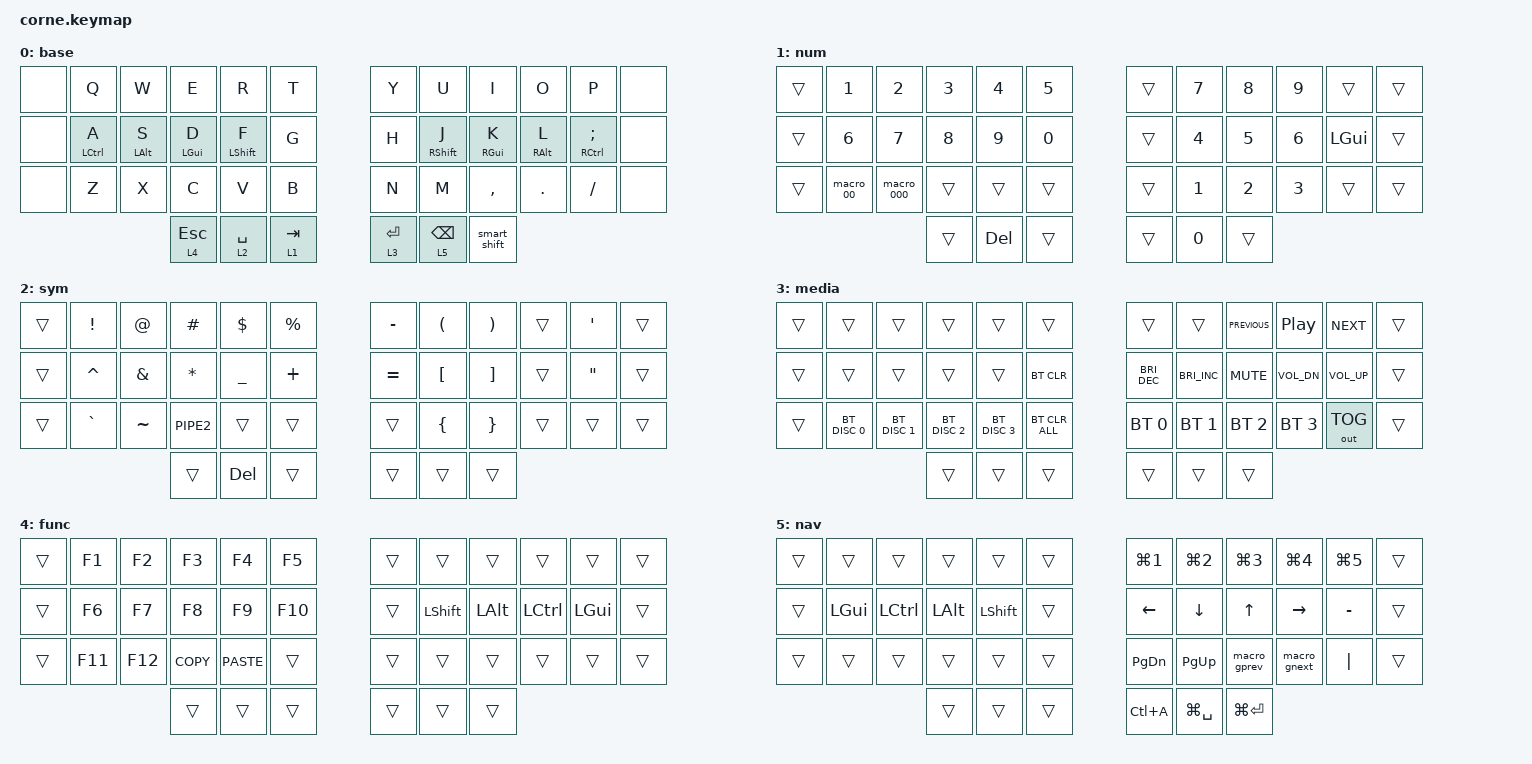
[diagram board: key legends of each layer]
/*
 * Copyright (c) 2020 The ZMK Contributors
 *
 * SPDX-License-Identifier: MIT
 */

#include <behaviors.dtsi>
#include <dt-bindings/zmk/bt.h>
#include <dt-bindings/zmk/keys.h>
#include <dt-bindings/zmk/keys.h>
#include <dt-bindings/zmk/outputs.h>
#include "zmk-helpers/helper.h"
#include "zmk-helpers/key-labels/36.h"

#define KEYS_L LT0 LT1 LT2 LT3 LT4 LM0 LM1 LM2 LM3 LM4 LB0 LB1 LB2 LB3 LB4
#define KEYS_R RT0 RT1 RT2 RT3 RT4 RM0 RM1 RM2 RM3 RM4 RB0 RB1 RB2 RB3 RB4
#define KEYS_T LH2 LH1 LH0 RH0 RH1 RH2

#define HM_TAPPING_TERM 150
#define HM_TAPPING_TERM_FAST 120
#define HM_PRIOR_IDLE 100

/ {
    combos {
        compatible = "zmk,combos";

        rcmd_combo {
            bindings = <&kp RIGHT_COMMAND>;
            key-positions = <21 22>;
            layers = <0>;
        };

        rctrl_combo {
            bindings = <&kp RIGHT_CONTROL>;
            key-positions = <21 20>;
            layers = <0>;
        };

        rshift_combo {
            bindings = <&kp RIGHT_SHIFT>;
            key-positions = <19 20>;
            layers = <0>;
        };

        ralt_combo {
            bindings = <&kp RIGHT_ALT>;
            key-positions = <18 19>;
            layers = <0>;
        };

        lcmd_combo {
            bindings = <&kp LEFT_COMMAND>;
            key-positions = <13 14>;
            layers = <0>;
        };

        lctrl_combo {
            bindings = <&kp LEFT_CONTROL>;
            key-positions = <14 15>;
            layers = <0>;
        };

        lshift_combo {
            bindings = <&kp LEFT_SHIFT>;
            key-positions = <15 16>;
            layers = <0>;
        };

        lalt_combo {
            bindings = <&kp LEFT_ALT>;
            key-positions = <16 17>;
            layers = <0>;
        };

        lctrl_alt_combo {
            bindings = <&kp LC(LEFT_ALT)>;
            key-positions = <16 14 15>;
            layers = <0>;
        };

        lcmd_shift_combo {
            bindings = <&kp LG(LEFT_SHIFT)>;
            key-positions = <14 15 13>;
            layers = <0>;
        };

        rcmd_shift_combo {
            bindings = <&kp LG(LEFT_SHIFT)>;
            key-positions = <20 21 22>;
            layers = <0>;
        };
    };

    macros {
        macro_00: macro_00 {
            compatible = "zmk,behavior-macro";
            #binding-cells = <0>;
            bindings = <&kp N0 &kp N0>;
            label = "MACRO_00";
        };

        macro_000: macro_000 {
            compatible = "zmk,behavior-macro";
            #binding-cells = <0>;
            bindings = <&kp N0 &kp N0 &kp N0>;
            label = "MACRO_000";
        };

        macro_gprev: macro_gprev {
            compatible = "zmk,behavior-macro";
            #binding-cells = <0>;
            bindings = <&kp LEFT_BRACKET &kp G>;
            label = "MACRO_GPREV";
        };

        macro_gnext: macro_gnext {
            compatible = "zmk,behavior-macro";
            #binding-cells = <0>;
            bindings = <&kp RIGHT_BRACKET &kp G>;
            label = "MACRO_GNEXT";
        };
    };

    behaviors {
        // Positional Homerow mods
        // Homerow mods that prevent accidental activations when rolling keys,
        // such as when typing `st` or `ne` on colemak-dh layouts or `as` on
        // qwerty.
        //
        // Works by only allowing a mod to activate within tapping-term if
        // it's on the opposite side of the keyboard or on the same side thumb
        // keys.

        // Further optimization using urob's timerless homerow mods method:
        // https://github.com/urob/zmk-config#timeless-homerow-mods
        hm_l: homerow_mods_left {
            compatible = "zmk,behavior-hold-tap";
            #binding-cells = <2>;
            bindings = <&kp>,  <&kp>;

            flavor = "balanced";
            tapping-term-ms = <HM_TAPPING_TERM>;
            quick-tap-ms = <175>;                // repeat on tap-into-hold
            require-prior-idle-ms = <HM_PRIOR_IDLE>;

            hold-trigger-key-positions = <KEYS_R KEYS_T>;
            hold-trigger-on-release;
        };

        hm_r: homerow_mods_right {
            compatible = "zmk,behavior-hold-tap";
            #binding-cells = <2>;
            bindings = <&kp>, <&kp>;

            flavor = "balanced";
            tapping-term-ms = <HM_TAPPING_TERM>;
            quick-tap-ms = <175>;
            require-prior-idle-ms = <HM_PRIOR_IDLE>;

            hold-trigger-key-positions = <KEYS_L KEYS_T>;
            hold-trigger-on-release;
        };


        // Positional Homerow mods for shift
        // Use faster tapping term and disable some features that may
        // cause false negatives.
        hm_shift_l: hm_shift_l {
            compatible = "zmk,behavior-hold-tap";
            #binding-cells = <2>;
            bindings = <&kp>, <&kp>;

            flavor = "balanced";
            tapping-term-ms = <HM_TAPPING_TERM_FAST>;
            quick-tap-ms = <175>;
            require-prior-idle-ms = <HM_PRIOR_IDLE>;

            hold-trigger-key-positions = <KEYS_R KEYS_T>;
            // hold-trigger-on-release;
        };

        hm_shift_r: hm_shift_r {
            compatible = "zmk,behavior-hold-tap";
            #binding-cells = <2>;
            bindings = <&kp>, <&kp>;

            flavor = "balanced";
            tapping-term-ms = <HM_TAPPING_TERM_FAST>;
            quick-tap-ms = <175>;
            require-prior-idle-ms = <HM_PRIOR_IDLE>;

            hold-trigger-key-positions = <KEYS_L KEYS_T>;
            // hold-trigger-on-release;
        };

        /*
         * Non-Positional Homerow Mods
         * Used for &mm_grescm_gui behavior on left hand.
         *
         * Usage: &hm LSHFT T
         * Tap: T
         * Tap-Tap-Hold: Repeat T
         * Hold: LSHIFT
         */
        hm: homerow_mods {
            compatible = "zmk,behavior-hold-tap";
            #binding-cells = <2>;
            bindings = <&kp>, <&kp>;

            flavor = "balanced";
            tapping-term-ms = <HM_TAPPING_TERM>;
            quick-tap-ms = <200>;
        };

        smart_shift: smart_shift {
            compatible = "zmk,behavior-tap-dance";
            label = "SMART_SHIFT";
            #binding-cells = <0>;
            tapping-term-ms = <200>;
            bindings = <&kp LEFT_SHIFT>, <&kt LEFT_SHIFT>;
        };
    };

    keymap {
        compatible = "zmk,keymap";

        base {
            // -----------------------------------------------------------------------------------------
            // | NONE |  Q  |  W  |  E  |  R  |  T  |   |  Y  |  U   |  I  |  O  |  P  | NONE |
            // | NONE |  A  |  S  |  D  |  F  |  G  |   |  H  |  J   |  K  |  L  |  ;  | NONE |
            // | NONE |  Z  |  X  |  C  |  V  |  B  |   |  N  |  M   |  ,  |  .  |  /  | NONE |
            //                    | GUI | LWR | SPC |   | ENT | RSE  | ALT |

            bindings = <
&none  &kp Q  &kp W  &kp E         &kp R            &kp T           &kp Y      &kp U        &kp I        &kp O    &kp P     &none
&none  &hm_l LEFT_CONTROL A  &hm_l LEFT_ALT S  &hm_l LEFT_GUI D  &hm_shift_l LEFT_SHIFT F      &kp G               &kp H     &hm_shift_r RIGHT_SHIFT J   &hm_r RIGHT_GUI K  &hm_r RIGHT_ALT L &hm_r RIGHT_CONTROL SEMI &none
&none  &kp Z  &kp X  &kp C         &kp V            &kp B           &kp N      &kp M        &kp COMMA    &kp DOT  &kp FSLH  &none
                     &lt 4 ESC  &lt 2 SPACE  &lt 1 TAB    &lt 3 ENTER  &lt 5 BACKSPACE  &smart_shift
            >;

            label = "base";
        };

        num {
            bindings = <
&trans  &kp N1     &kp N2      &kp N3  &kp N4   &kp N5    &trans  &kp N7     &kp N8     &kp N9    &trans    &trans
&trans  &kp N6     &kp N7      &kp N8  &kp N9   &kp N0    &trans  &kp N4     &kp N5     &kp N6    &kp LGUI  &trans
&trans  &macro_00  &macro_000  &trans  &trans   &trans    &trans  &kp N1     &kp N2     &kp N3    &trans    &trans
                               &trans  &kp DEL  &trans    &trans  &kp N0     &trans
            >;

            label = "num";
        };

        sym {
            bindings = <
&trans  &kp EXCLAMATION &kp AT_SIGN      &kp POUND     &kp DOLLAR         &kp PERCENT      &kp MINUS        &kp LEFT_PARENTHESIS  &kp RIGHT_PARENTHESIS  &trans  &kp SQT  &trans
&trans  &kp CARET       &kp AMPERSAND    &kp ASTERISK  &kp UNDERSCORE     &kp PLUS         &kp EQUAL        &kp LEFT_BRACKET      &kp RIGHT_BRACKET      &trans  &kp DQT  &trans
&trans  &kp GRAVE       &kp TILDE        &kp PIPE2     &trans             &trans           &trans           &kp LEFT_BRACE        &kp RIGHT_BRACE        &trans  &trans  &trans
                                         &trans        &kp DELETE         &trans           &trans           &trans                &trans
            >;

            label = "sym";
        };

        media {
            bindings = <
&trans  &trans         &trans         &trans         &trans         &trans            &trans                &trans                &kp C_PREVIOUS  &kp C_PLAY_PAUSE  &kp C_NEXT       &trans
&trans  &trans         &trans         &trans         &trans         &bt BT_CLR        &kp C_BRIGHTNESS_DEC  &kp C_BRIGHTNESS_INC  &kp K_MUTE      &kp C_VOL_DN      &kp C_VOLUME_UP  &trans
&trans  &bt BT_DISC 0  &bt BT_DISC 1  &bt BT_DISC 2  &bt BT_DISC 3  &bt BT_CLR_ALL    &bt BT_SEL 0          &bt BT_SEL 1          &bt BT_SEL 2    &bt BT_SEL 3      &out OUT_TOG     &trans
                                      &trans         &trans         &trans            &trans                &trans                &trans
            >;

            label = "media";
        };

        func {
            bindings = <
&trans  &kp F1   &kp F2   &kp F3      &kp F4       &kp F5     &trans  &trans          &trans        &trans            &trans        &trans
&trans  &kp F6   &kp F7   &kp F8      &kp F9       &kp F10    &trans  &kp LEFT_SHIFT  &kp LEFT_ALT  &kp LEFT_CONTROL  &kp LEFT_GUI  &trans
&trans  &kp F11  &kp F12  &kp K_COPY  &kp K_PASTE  &trans     &trans  &trans          &trans        &trans            &trans        &trans
                          &trans      &trans       &trans     &trans  &trans          &trans
            >;

            label = "func";
        };

        nav {
            bindings = <
&trans  &trans    &trans     &trans    &trans     &trans    &kp LG(NUMBER_1)  &kp LG(NUMBER_2)  &kp LG(NUMBER_3)  &kp LG(NUMBER_4)  &kp LG(N5)  &trans
&trans  &kp LGUI  &kp LCTRL  &kp LALT  &kp LSHFT  &trans    &kp LEFT          &kp DOWN          &kp UP            &kp RIGHT         &kp MINUS   &trans
&trans  &trans    &trans     &trans    &trans     &trans    &kp PAGE_DOWN     &kp PAGE_UP       &macro_gprev      &macro_gnext      &kp PIPE    &trans
                             &trans    &trans     &trans    &kp LC(A)         &kp LG(SPACE)     &kp LG(ENTER)
            >;

            label = "nav";
        };
    };
};
